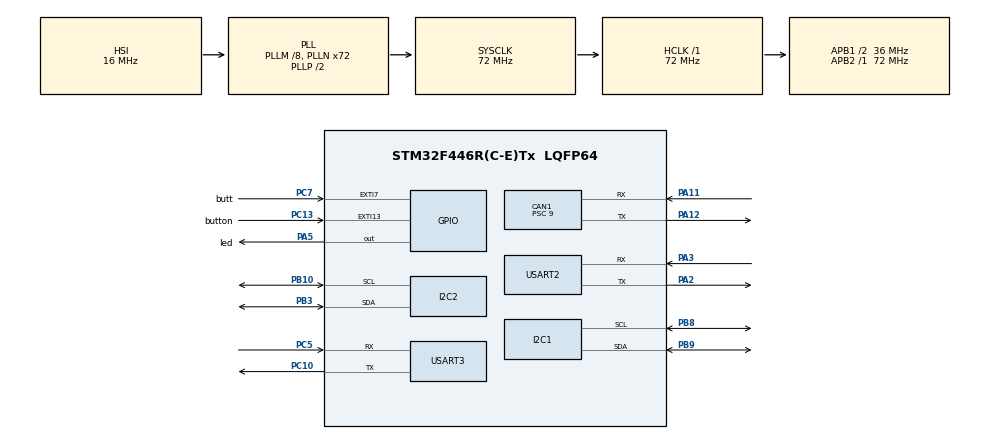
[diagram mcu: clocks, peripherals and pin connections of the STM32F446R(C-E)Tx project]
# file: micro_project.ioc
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CAN1.BS1=CAN_BS1_3TQ
CAN1.BS2=CAN_BS2_4TQ
CAN1.CalculateBaudRate=500000
CAN1.CalculateTimeBit=2000
CAN1.CalculateTimeQuantum=250.0
CAN1.Prescaler=9
Mcu.Family=STM32F4
Mcu.Name=STM32F446R(C-E)Tx
Mcu.Package=LQFP64
NVIC.CAN1_RX0_IRQn=true\:0\:0\:false\:false\:true\:true\:true\:true
NVIC.EXTI15_10_IRQn=true\:0\:0\:false\:false\:true\:true\:true\:true
NVIC.EXTI9_5_IRQn=true\:0\:0\:false\:false\:true\:true\:true\:true
NVIC.PriorityGroup=NVIC_PRIORITYGROUP_0
NVIC.RCC_IRQn=true\:0\:0\:false\:false\:true\:true\:false\:true
PA11.Mode=CAN_Activate
PA11.Signal=CAN1_RX
PA12.Mode=CAN_Activate
PA12.Signal=CAN1_TX
PA2.Mode=Asynchronous
PA2.Signal=USART2_TX
PA3.Mode=Asynchronous
PA3.Signal=USART2_RX
PA5.GPIO_Label=led
PA5.Signal=GPIO_Output
PB10.Mode=I2C
PB10.Signal=I2C2_SCL
PB3.Mode=I2C
PB3.Signal=I2C2_SDA
PB8.Mode=I2C
PB8.Signal=I2C1_SCL
PB9.Mode=I2C
PB9.Signal=I2C1_SDA
PC10.Mode=Asynchronous
PC10.Signal=USART3_TX
PC13.GPIO_Label=button
PC13.GPIO_ModeDefaultEXTI=GPIO_MODE_IT_FALLING
PC13.Signal=GPXTI13
PC5.Mode=Asynchronous
PC5.Signal=USART3_RX
PC7.GPIO_Label=butt
PC7.Signal=GPXTI7
PH0-OSC_IN.Mode=HSE-External-Oscillator
PH0-OSC_IN.Signal=RCC_OSC_IN
PH1-OSC_OUT.Mode=HSE-External-Oscillator
PH1-OSC_OUT.Signal=RCC_OSC_OUT
ProjectManager.HeapSize=0x200
ProjectManager.StackSize=0x400
ProjectManager.TargetToolchain=STM32CubeIDE
RCC.AHBFreq_Value=72000000
RCC.APB1CLKDivider=RCC_HCLK_DIV2
RCC.APB1Freq_Value=36000000
RCC.APB1TimFreq_Value=72000000
RCC.APB2Freq_Value=72000000
RCC.APB2TimFreq_Value=72000000
RCC.CortexFreq_Value=72000000
RCC.FLatency-AdvancedSettings=FLASH_LATENCY_2
RCC.HCLKFreq_Value=72000000
RCC.HSE_VALUE=8000000
RCC.HSI_VALUE=16000000
RCC.LSE_VALUE=32768
RCC.PLLM=8
RCC.PLLN=72
RCC.SYSCLKFreq_VALUE=72000000
RCC.SYSCLKSource=RCC_SYSCLKSOURCE_PLLCLK
RCC.USBFreq_Value=72000000
RCC.VCOOutputFreq_Value=144000000
USART2.VirtualMode=VM_ASYNC
USART3.VirtualMode=VM_ASYNC
board=NUCLEO-F446RE

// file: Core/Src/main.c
/* USER CODE BEGIN Header */
/**
  ******************************************************************************
  * @file           : main.c
  * @brief          : Main program body
  ******************************************************************************
  * @attention
  *
  * Copyright (c) 2024 STMicroelectronics.
  * All rights reserved.
  *
  * This software is licensed under terms that can be found in the LICENSE file
  * in the root directory of this software component.
  * If no LICENSE file comes with this software, it is provided AS-IS.
  *
  ******************************************************************************
  */
/* USER CODE END Header */
#include "main.h"

/* USER CODE BEGIN Includes */
#include <lcd_display_i2c.h>
/* USER CODE END Includes */

CAN_HandleTypeDef hcan1;

I2C_HandleTypeDef hi2c1;
I2C_HandleTypeDef hi2c2;

UART_HandleTypeDef huart2;
UART_HandleTypeDef huart3;

void SystemClock_Config(void);
static void MX_GPIO_Init(void);
static void MX_CAN1_Init(void);
static void MX_I2C1_Init(void);
static void MX_USART2_UART_Init(void);
static void MX_I2C2_Init(void);
static void MX_USART3_UART_Init(void);

/* USER CODE BEGIN 0 */
/************ global variables *****************/
char ch[50]="welcome !";
char s[50];
int sw=0;
uint32_t actualReceivedBytes=0;
uint8_t uart_buffer[30];
uint8_t I2C_buffer[30];

/****************** CAN variables ***********/
CAN_TxHeaderTypeDef TxHeader;
CAN_RxHeaderTypeDef RxHeader;
uint8_t TxData[30] ;
uint8_t RxData[8];
uint32_t TxMailbox;
CAN_FilterTypeDef sFilterConfig;

void HAL_GPIO_EXTI_Callback(uint16_t GPIO_Pin)

{
	if (GPIO_Pin ==butt_Pin )

	{
		  HAL_GPIO_TogglePin(led_GPIO_Port, led_Pin);
		  sw++;
		  if(sw>3)sw=0;
		  switch(sw){
		  case 0:
		 			  strcpy(ch, "I2C=>CAN add=11");
		 			  strcpy(s, "SDA:PB3-SCL:PB10");
		 		  			  break;
		  case 1:
			  strcpy(ch, "UART=>CAN");
			  strcpy(s, "RX:PC5-TX:PC10");
			  break;
		  case 2:
			  strcpy(ch, "UART<=CAN");
			  			  strcpy(s, "RX:PC5-TX:PC10");
			  			  break;
		  case 3:
		  			  strcpy(ch, "I2C<=CAN add=11");
		  			  strcpy(s, "SDA:PB3-SCL:PB10");
		  		  			  break;
		  }
		 // HAL_Delay(1);
	}

}
void uart_to_can(){
	actualReceivedBytes=HAL_UART_Receive(&huart3, uart_buffer, sizeof(uart_buffer),30);

	if(actualReceivedBytes<8){
		for(int i=0;i<actualReceivedBytes;i++)TxData[i]=uart_buffer[i];
		HAL_CAN_AddTxMessage(&hcan1, &TxHeader, TxData, &TxMailbox);
		actualReceivedBytes=0;
		return;
	}
		for(int i=0;i<actualReceivedBytes;i++){
			TxData[i/8]=uart_buffer[i];
			if(++i%8==0)HAL_CAN_AddTxMessage(&hcan1, &TxHeader, TxData, &TxMailbox);

	}
		actualReceivedBytes=0;

}
void i2c_to_can(){
	actualReceivedBytes=HAL_I2C_Slave_Receive(&hi2c2, I2C_buffer,sizeof(I2C_buffer),30);
	if(actualReceivedBytes<8){
		for(int i=0;i<actualReceivedBytes;i++)TxData[i]=I2C_buffer[i];
		HAL_CAN_AddTxMessage(&hcan1, &TxHeader, TxData, &TxMailbox);
		actualReceivedBytes=0;
		return;
	}
		for(int i=0;i<actualReceivedBytes;i++){
			TxData[i/8]=I2C_buffer[i];
			if(++i%8==0)HAL_CAN_AddTxMessage(&hcan1, &TxHeader, TxData, &TxMailbox);

	}
		actualReceivedBytes=0;
}
void can_to_uart(){
	 HAL_UART_Transmit(&huart3, RxData, sizeof(RxData), 10);
}
void can_to_I2C(){
	HAL_I2C_Slave_Transmit (&hi2c2, RxData,sizeof(RxData),30);
}
/* USER CODE END 0 */

int main(void)
{

  /* MCU Configuration--------------------------------------------------------*/

  /* Reset of all peripherals, Initializes the Flash interface and the Systick. */
  HAL_Init();

  /* Configure the system clock */
  SystemClock_Config();

  /* Initialize all configured peripherals */
  MX_GPIO_Init();
  MX_CAN1_Init();
  MX_I2C1_Init();
  MX_USART2_UART_Init();
  MX_I2C2_Init();
  MX_USART3_UART_Init();
  /* USER CODE BEGIN 2 */

  /**************lcd home message********/
  lcd_init();
  // char ch[]="hello world";
  lcd_set_cursor(0,2);
  lcd_send_string(ch);
  HAL_Delay(2000);
  lcd_clear();

  /********** CAN config ******/
  // initialize filtering
     sFilterConfig.FilterBank = 1;                       // value between 0 to 13 for JUST Master Mode (CAN1)
     sFilterConfig.FilterMode = CAN_FILTERMODE_IDLIST;   // for filtering Identifiers
     sFilterConfig.FilterScale = CAN_FILTERSCALE_32BIT;  // for Scaling filtering (if use EXTENDED CAN this must be 32BIT)
     sFilterConfig.FilterIdHigh = (0x541) << 5;          // First Identifier MSB value for receiving in IDLIST Mode for 32BIT Scaling
     sFilterConfig.FilterIdLow = 0x00;                   // First Identifier LSB value for receiving in IDLIST Mode for 32BIT Scaling
     sFilterConfig.FilterMaskIdHigh = 0x00;              // Second Identifier MSB value for receiving in IDLIST Mode for 32BIT Scaling
     sFilterConfig.FilterMaskIdLow = 0x00;               // Second Identifier LSB value for receiving in IDLIST Mode for 32BIT Scaling
     sFilterConfig.FilterFIFOAssignment = CAN_RX_FIFO0;  // specify FIFO0 or FIFO1
     sFilterConfig.FilterActivation = CAN_FILTER_ENABLE; // Enable filtering
     // sFilterConfig.SlaveStartFilterBank = 14;            // DOES NOT MATTER FOR JUST MASTER MODE (CAN1)

     // Transmitting header parameters.
      TxHeader.StdId = 0x123;      // Identifier to sent In Standard Frame
      // TxHeader.ExtId = 0x123;      // Identifier to sent In Extended Frame
      TxHeader.RTR = CAN_RTR_DATA; // Specify the first type of Frame : DATA, REMOTE - DATA Chosen
      TxHeader.IDE = CAN_ID_STD;   // Specify the second type of Frame : Standard, Extended - Standard Chosen
      // TxHeader.IDE = CAN_ID_STD; // Specify the second type of Frame : Standard, Extended - Extended Chosen
      TxHeader.DLC = 8;          // Specify the number of Data (in Bytes), Between 0 to 8
      TxHeader.TransmitGlobalTime = DISABLE;

      // Applying configurations and Start CAN
      HAL_CAN_ConfigFilter(&hcan1, &sFilterConfig);
      HAL_CAN_Start(&hcan1);
      HAL_CAN_ActivateNotification(&hcan1, CAN_IT_RX_FIFO0_MSG_PENDING); // this function works like this :	HAL_CAN_Receive_IT(&hcan1, CAN_FIFO0) ;

  /* USER CODE END 2 */

  /* Infinite loop */
  while (1)
  {

    /* USER CODE BEGIN 3 */
	  lcd_set_cursor(0,0);
	  lcd_send_string(ch);
	  lcd_set_cursor(1,0);
	  lcd_send_string(s);

	  switch(sw){
	  case 0:
		  i2c_to_can();
		  break;
	  case 1:
		  uart_to_can();
		  break;
	  case 2:
		  can_to_uart();
		  break;
	  case 3:
		  can_to_I2C();
		  break;
	  }
	  lcd_clear();

  }
  /* USER CODE END 3 */
}

void SystemClock_Config(void)
{
  RCC_OscInitTypeDef RCC_OscInitStruct = {0};
  RCC_ClkInitTypeDef RCC_ClkInitStruct = {0};

  /** Configure the main internal regulator output voltage
  */
  __HAL_RCC_PWR_CLK_ENABLE();
  __HAL_PWR_VOLTAGESCALING_CONFIG(PWR_REGULATOR_VOLTAGE_SCALE3);

  /** Initializes the RCC Oscillators according to the specified parameters
  * in the RCC_OscInitTypeDef structure.
  */
  RCC_OscInitStruct.OscillatorType = RCC_OSCILLATORTYPE_HSI;
  RCC_OscInitStruct.HSIState = RCC_HSI_ON;
  RCC_OscInitStruct.HSICalibrationValue = RCC_HSICALIBRATION_DEFAULT;
  RCC_OscInitStruct.PLL.PLLState = RCC_PLL_ON;
  RCC_OscInitStruct.PLL.PLLSource = RCC_PLLSOURCE_HSI;
  RCC_OscInitStruct.PLL.PLLM = 8;
  RCC_OscInitStruct.PLL.PLLN = 72;
  RCC_OscInitStruct.PLL.PLLP = RCC_PLLP_DIV2;
  RCC_OscInitStruct.PLL.PLLQ = 2;
  RCC_OscInitStruct.PLL.PLLR = 2;
  if (HAL_RCC_OscConfig(&RCC_OscInitStruct) != HAL_OK)
  {
    Error_Handler();
  }

  /** Initializes the CPU, AHB and APB buses clocks
  */
  RCC_ClkInitStruct.ClockType = RCC_CLOCKTYPE_HCLK|RCC_CLOCKTYPE_SYSCLK
                              |RCC_CLOCKTYPE_PCLK1|RCC_CLOCKTYPE_PCLK2;
  RCC_ClkInitStruct.SYSCLKSource = RCC_SYSCLKSOURCE_PLLCLK;
  RCC_ClkInitStruct.AHBCLKDivider = RCC_SYSCLK_DIV1;
  RCC_ClkInitStruct.APB1CLKDivider = RCC_HCLK_DIV2;
  RCC_ClkInitStruct.APB2CLKDivider = RCC_HCLK_DIV1;

  if (HAL_RCC_ClockConfig(&RCC_ClkInitStruct, FLASH_LATENCY_2) != HAL_OK)
  {
    Error_Handler();
  }
}

static void MX_CAN1_Init(void)
{

  hcan1.Instance = CAN1;
  hcan1.Init.Prescaler = 9;
  hcan1.Init.Mode = CAN_MODE_NORMAL;
  hcan1.Init.SyncJumpWidth = CAN_SJW_1TQ;
  hcan1.Init.TimeSeg1 = CAN_BS1_3TQ;
  hcan1.Init.TimeSeg2 = CAN_BS2_4TQ;
  hcan1.Init.TimeTriggeredMode = DISABLE;
  hcan1.Init.AutoBusOff = DISABLE;
  hcan1.Init.AutoWakeUp = DISABLE;
  hcan1.Init.AutoRetransmission = DISABLE;
  hcan1.Init.ReceiveFifoLocked = DISABLE;
  hcan1.Init.TransmitFifoPriority = DISABLE;
  if (HAL_CAN_Init(&hcan1) != HAL_OK)
  {
    Error_Handler();
  }

}

static void MX_I2C1_Init(void)
{

  hi2c1.Instance = I2C1;
  hi2c1.Init.ClockSpeed = 100000;
  hi2c1.Init.DutyCycle = I2C_DUTYCYCLE_2;
  hi2c1.Init.OwnAddress1 = 0;
  hi2c1.Init.AddressingMode = I2C_ADDRESSINGMODE_7BIT;
  hi2c1.Init.DualAddressMode = I2C_DUALADDRESS_DISABLE;
  hi2c1.Init.OwnAddress2 = 0;
  hi2c1.Init.GeneralCallMode = I2C_GENERALCALL_DISABLE;
  hi2c1.Init.NoStretchMode = I2C_NOSTRETCH_DISABLE;
  if (HAL_I2C_Init(&hi2c1) != HAL_OK)
  {
    Error_Handler();
  }

}

static void MX_I2C2_Init(void)
{

  hi2c2.Instance = I2C2;
  hi2c2.Init.ClockSpeed = 100000;
  hi2c2.Init.DutyCycle = I2C_DUTYCYCLE_2;
  hi2c2.Init.OwnAddress1 = 11;
  hi2c2.Init.AddressingMode = I2C_ADDRESSINGMODE_7BIT;
  hi2c2.Init.DualAddressMode = I2C_DUALADDRESS_DISABLE;
  hi2c2.Init.OwnAddress2 = 0;
  hi2c2.Init.GeneralCallMode = I2C_GENERALCALL_DISABLE;
  hi2c2.Init.NoStretchMode = I2C_NOSTRETCH_DISABLE;
  if (HAL_I2C_Init(&hi2c2) != HAL_OK)
  {
    Error_Handler();
  }

}

static void MX_USART2_UART_Init(void)
{

  huart2.Instance = USART2;
  huart2.Init.BaudRate = 115200;
  huart2.Init.WordLength = UART_WORDLENGTH_8B;
  huart2.Init.StopBits = UART_STOPBITS_1;
  huart2.Init.Parity = UART_PARITY_NONE;
  huart2.Init.Mode = UART_MODE_TX_RX;
  huart2.Init.HwFlowCtl = UART_HWCONTROL_NONE;
  huart2.Init.OverSampling = UART_OVERSAMPLING_16;
  if (HAL_UART_Init(&huart2) != HAL_OK)
  {
    Error_Handler();
  }

}

static void MX_USART3_UART_Init(void)
{

  huart3.Instance = USART3;
  huart3.Init.BaudRate = 115200;
  huart3.Init.WordLength = UART_WORDLENGTH_8B;
  huart3.Init.StopBits = UART_STOPBITS_1;
  huart3.Init.Parity = UART_PARITY_NONE;
  huart3.Init.Mode = UART_MODE_TX_RX;
  huart3.Init.HwFlowCtl = UART_HWCONTROL_NONE;
  huart3.Init.OverSampling = UART_OVERSAMPLING_16;
  if (HAL_UART_Init(&huart3) != HAL_OK)
  {
    Error_Handler();
  }

}

static void MX_GPIO_Init(void)
{
  GPIO_InitTypeDef GPIO_InitStruct = {0};

  /* GPIO Ports Clock Enable */
  __HAL_RCC_GPIOC_CLK_ENABLE();
  __HAL_RCC_GPIOH_CLK_ENABLE();
  __HAL_RCC_GPIOA_CLK_ENABLE();
  __HAL_RCC_GPIOB_CLK_ENABLE();

  /*Configure GPIO pin Output Level */
  HAL_GPIO_WritePin(led_GPIO_Port, led_Pin, GPIO_PIN_RESET);

  /*Configure GPIO pin : button_Pin */
  GPIO_InitStruct.Pin = button_Pin;
  GPIO_InitStruct.Mode = GPIO_MODE_IT_FALLING;
  GPIO_InitStruct.Pull = GPIO_NOPULL;
  HAL_GPIO_Init(button_GPIO_Port, &GPIO_InitStruct);

  /*Configure GPIO pin : led_Pin */
  GPIO_InitStruct.Pin = led_Pin;
  GPIO_InitStruct.Mode = GPIO_MODE_OUTPUT_PP;
  GPIO_InitStruct.Pull = GPIO_NOPULL;
  GPIO_InitStruct.Speed = GPIO_SPEED_FREQ_LOW;
  HAL_GPIO_Init(led_GPIO_Port, &GPIO_InitStruct);

  /*Configure GPIO pin : butt_Pin */
  GPIO_InitStruct.Pin = butt_Pin;
  GPIO_InitStruct.Mode = GPIO_MODE_IT_RISING;
  GPIO_InitStruct.Pull = GPIO_NOPULL;
  HAL_GPIO_Init(butt_GPIO_Port, &GPIO_InitStruct);

  /* EXTI interrupt init*/
  HAL_NVIC_SetPriority(EXTI9_5_IRQn, 0, 0);
  HAL_NVIC_EnableIRQ(EXTI9_5_IRQn);

  HAL_NVIC_SetPriority(EXTI15_10_IRQn, 0, 0);
  HAL_NVIC_EnableIRQ(EXTI15_10_IRQn);

}

/* USER CODE BEGIN 4 */
void HAL_CAN_RxFifo0MsgPendingCallback(CAN_HandleTypeDef *hcan)
{
	HAL_CAN_GetRxMessage(hcan, CAN_RX_FIFO0, &RxHeader, RxData); //Receive CAN bus message to canRX buffer

}
/* USER CODE END 4 */

void Error_Handler(void)
{
  __disable_irq();
  while (1)
  {
  }
}
